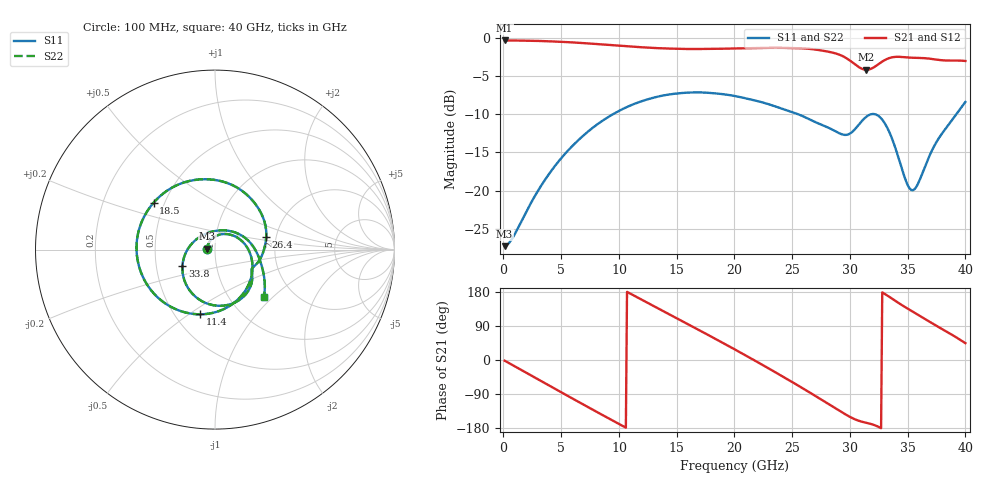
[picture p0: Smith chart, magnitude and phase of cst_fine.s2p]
! P_ts6_finger_noplane: gold finger 0.7 × 2.1 mm between GND fingers (gap 0.3 mm), every plane cut back
! stackup: ThunderScope Rev5.3 6-layer (FR408HR / FR-4, from the board file)
! ports: 1, 2
! CST Studio Suite 2025.5 Release from 2025-05-30, time domain (FIT, hexahedral, PBA), 325006 mesh cells, 54 s
! mesh: {'lpw': 30.0, 'lpb': 30.0, 'minstep': 0.0, 'ratio': 20}; ports: port 1 (face); port 2 (face)
! interpolated from CST's 1001 samples to the case grid
# Hz S RI R 50
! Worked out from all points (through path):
!   400 points, 100 MHz to 40 GHz, reference 50 ohm
!   highest |S21| = -0.38 dB at 100 MHz (marker M1); lowest = -4.2 dB at 31.4 GHz (marker M2)
!   group delay of S21, straight-line fit = 46.5 ps
!   lowest |S11| = -27.3 dB at 100 MHz (marker M3), VSWR 1.09, Z = 45.9 + j0.393 ohm
!   |S11| at or under -10 dB: start of sweep to 9.507 GHz; 25.48 GHz to 31.93 GHz (6.457 GHz wide, 22.5 % of centre); 32.08 GHz to 39.22 GHz (7.143 GHz wide, 20 % of centre)
!   |S22| runs from -27.3 to -7.2 dB; largest |S21 - S12| = 5.1e-07
!   S11 on the Smith chart (normalised r, x): 100 MHz: 0.92, +0.01; 11.4 GHz: 0.66, -0.55; 18.5 GHz: 0.44, +0.28; 26.4 GHz: 1.77, +0.28; 33.8 GHz: 0.68, -0.13; 40 GHz: 1.43, -0.88
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1e8  -0.0431 0.00428  0.9563 -0.0285  0.9563 -0.0285  -0.0431 0.00428
1.8e9  -0.00723 0.0682  0.8204 -0.487  0.8204 -0.487  -0.00723 0.0682
3.7e9  0.0883 0.0824  0.4286 -0.8435  0.4286 -0.8435  0.0883 0.0824
5.2e9  0.167 0.0292  0.0241 -0.9354  0.0241 -0.9354  0.167 0.0292
6.8e9  0.2086 -0.0835  -0.3972 -0.8307  -0.3972 -0.8307  0.2086 -0.0835
9.2e9  0.1265 -0.2792  -0.8138 -0.3695  -0.8138 -0.3695  0.1265 -0.2792
1.14e10  -0.0843 -0.3606  -0.8514 0.1752  -0.8514 0.1752  -0.0843 -0.3606
1.34e10  -0.2955 -0.2865  -0.613 0.5915  -0.613 0.5915  -0.2955 -0.2865
1.6e10  -0.4363 -0.0194  -0.0605 0.8393  -0.0605 0.8393  -0.4363 -0.0194
1.85e10  -0.3426 0.2608  0.5037 0.6769  0.5037 0.6769  -0.3426 0.2608
2.01e10  -0.1877 0.369  0.7583 0.3826  0.7583 0.3826  -0.1877 0.369
2.31e10  0.1361 0.3375  0.7801 -0.3563  0.7801 -0.3563  0.1361 0.3375
2.64e10  0.2856 0.0721  0.0952 -0.839  0.0952 -0.839  0.2856 0.0721
2.67e10  0.2833 0.0477  0.0135 -0.8399  0.0135 -0.8399  0.2833 0.0477
2.93e10  0.2111 -0.0991  -0.5617 -0.5126  -0.5617 -0.5126  0.2111 -0.0991
3.14e10  0.1698 -0.2507  -0.5959 -0.1531  -0.5959 -0.1531  0.1698 -0.2507
3.24e10  -0.00917 -0.31  -0.6615 -0.0546  -0.6615 -0.0546  -0.00917 -0.31
3.34e10  -0.1701 -0.1728  -0.7148 0.1656  -0.7148 0.1656  -0.1701 -0.1728
3.38e10  -0.1815 -0.0918  -0.6951 0.2698  -0.6951 0.2698  -0.1815 -0.0918
3.55e10  -0.0201 0.0989  -0.4398 0.5916  -0.4398 0.5916  -0.0201 0.0989
3.76e10  0.2134 0.0164  0.0202 0.7152  0.0202 0.7152  0.2134 0.0164
4e10  0.2727 -0.2637  0.5019 0.4915  0.5019 0.4915  0.2727 -0.2637
